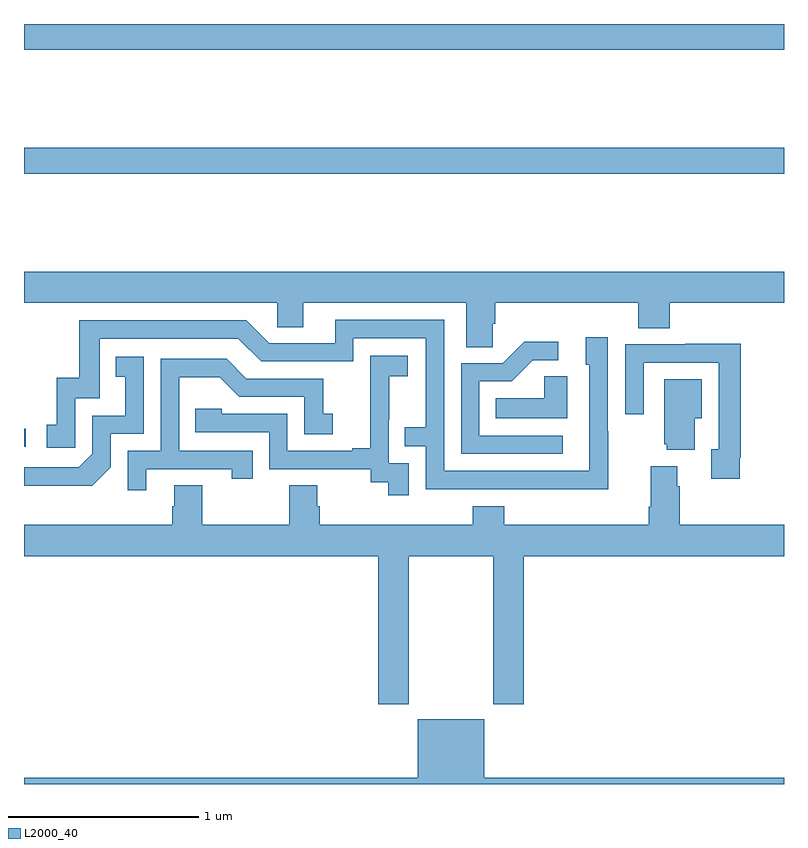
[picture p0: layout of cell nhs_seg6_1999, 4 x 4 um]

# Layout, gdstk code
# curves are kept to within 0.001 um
import gdstk
lib = gdstk.Library(unit=1e-6, precision=1e-09)
def R(c, l, rs):  # rectangles x0, y0, x1, y1
    for r in rs: c.add(gdstk.rectangle(r[:2], r[2:], *l))
def P(c, l, *ps):  # polygons
    for p in ps: c.add(gdstk.Polygon(p, *l))
L2000_40 = (2000, 40)

nhs_seg6_1999 = lib.new_cell('nhs_seg6_1999')
R(nhs_seg6_1999, L2000_40, [(231,917.274,231.01,917.37), (231,918.712,235,918.848), (231,919.364,235,919.5)])
P(nhs_seg6_1999, L2000_40, [(233.466,917.923),(233.48,917.923),(233.48,918.032),(234.233,918.032),(234.233,917.899),(234.398,917.899),(234.398,918.032),(235,918.032),(235,918.196),(231,918.196),(231,918.032),(232.332,918.032),(232.332,917.905),(232.471,917.905),(232.471,918.032),(233.327,918.032),(233.327,917.8),(233.466,917.8)],
  [(234.075,917.357),(234.072,917.357),(234.072,917.851),(233.957,917.851),(233.957,917.706),(233.976,917.706),(233.976,917.148),(233.211,917.148),(233.211,917.943),(232.637,917.943),(232.637,917.82),(232.29,917.82),(232.17,917.94),(231.291,917.94),(231.291,917.638),(231.173,917.638),(231.173,917.391),(231.12,917.391),(231.12,917.271),(231.27,917.271),(231.27,917.529),(231.399,917.529),(231.399,917.844),(232.128,917.844),(232.248,917.724),(232.734,917.724),(232.734,917.847),(233.115,917.847),(233.115,917.378),(233.005,917.378),(233.005,917.277),(233.115,917.277),(233.115,917.052),(234.075,917.051)],
  [(233.836,917.334),(233.397,917.334),(233.397,917.619),(233.566,917.619),(233.677,917.73),(233.812,917.73),(233.812,917.828),(233.633,917.828),(233.52,917.715),(233.301,917.715),(233.301,917.238),(233.836,917.238)],
  [(234.766,917.218),(234.773,917.218),(234.773,917.816),(234.481,917.816),(234.481,917.814),(234.165,917.814),(234.165,917.445),(234.261,917.445),(234.261,917.718),(234.657,917.718),(234.657,917.262),(234.617,917.262),(234.617,917.106),(234.766,917.106)],
  [(233.025,917.187),(232.92,917.187),(232.92,917.417),(232.922,917.417),(232.922,917.645),(233.02,917.645),(233.02,917.755),(232.822,917.755),(232.822,917.549),(232.823,917.549),(232.823,917.266),(232.727,917.266),(232.727,917.253),(232.386,917.253),(232.386,917.448),(232.041,917.448),(232.041,917.475),(231.901,917.475),(231.901,917.352),(232.29,917.352),(232.29,917.157),(232.824,917.157),(232.824,917.089),(232.917,917.089),(232.917,917.019),(233.025,917.019)],
  [(231.456,917.166),(231.456,917.343),(231.63,917.343),(231.63,917.749),(231.484,917.749),(231.484,917.643),(231.533,917.643),(231.533,917.439),(231.36,917.439),(231.36,917.238),(231.288,917.166),(231,917.166),(231,917.069),(231.358,917.069)],
  [(231.643,917.157),(232.094,917.157),(232.094,917.106),(232.205,917.106),(232.205,917.253),(231.816,917.253),(231.816,917.642),(232.03,917.642),(232.134,917.538),(232.476,917.538),(232.476,917.34),(232.624,917.34),(232.624,917.449),(232.575,917.449),(232.575,917.634),(232.171,917.634),(232.066,917.739),(231.72,917.739),(231.72,917.253),(231.546,917.253),(231.546,917.046),(231.643,917.046)],
  [(233.86,917.645),(233.739,917.645),(233.739,917.53),(233.482,917.53),(233.482,917.426),(233.86,917.426)],
  [(234.529,917.426),(234.568,917.426),(234.568,917.629),(234.371,917.629),(234.371,917.289),(234.383,917.289),(234.383,917.258),(234.529,917.258)],
  [(232.865,915.921),(233.025,915.921),(233.025,916.7),(233.47,916.7),(233.47,915.921),(233.63,915.921),(233.63,916.7),(235,916.7),(235,916.864),(234.452,916.864),(234.452,917.066),(234.439,917.066),(234.439,917.173),(234.299,917.173),(234.299,916.96),(234.287,916.96),(234.287,916.864),(233.528,916.864),(233.528,916.963),(233.363,916.963),(233.363,916.864),(232.556,916.864),(232.556,916.962),(232.543,916.962),(232.543,917.072),(232.396,917.072),(232.396,916.864),(231.939,916.864),(231.939,917.072),(231.791,917.072),(231.791,916.962),(231.779,916.962),(231.779,916.864),(231,916.864),(231,916.7),(232.865,916.7)],
  [(235,915.532),(233.422,915.532),(233.422,915.841),(233.072,915.841),(233.072,915.532),(231,915.532),(231,915.5),(235,915.5)])

lib.write_gds('nhs_seg6_1999.gds')
